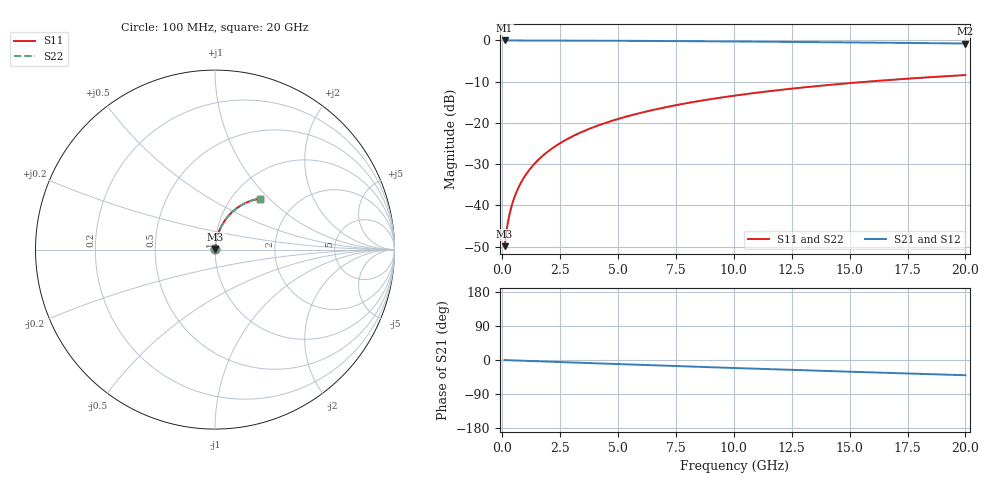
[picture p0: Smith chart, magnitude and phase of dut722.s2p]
! Touchstone file exported from HFSS 2026.1.0
!  File:  C:/ffzhzh/LocalFiles/Ansys_Project_Files/temp_train_BSMRDL_722_1783168390_51560.aedt
!  Generated:  08:34:28 PM Jul  4, 2026
!  Design:  BSMRDL
!  Project:  temp_train_BSMRDL_722_1783168390_51560
! Variables:
!  h_bsmrdl = 4.17um
!  h_ox = 20um
!  h_rdl = 5um
!  h_sub = 80um
!  h_tmrdl = 5um
!  h_tsv = 80um
!  h_via = 3um
!  l_bsmrdl = 565.13um
!  l_sub = 965.13um
!  l_tmrdl = 200um
!  m_sub = 200um
!  pitch = 59.85um
!  r_tsv = 6um
!  s_tmrdl = 10um
!  w_bsmrdl = 26.51um
!  w_sub = 500um
!  w_tmrdl = 12um
!  x_tsv_center1 = 206um
!  x_tsv_center2 = 797.64um
!  x_tsv_center3 = 1009.64um
!  x_tsv_center4 = 1601.28um
!  x_tsv_center5 = 1813.28um
!  x_tsv_center6 = 2404.92um
# GHz S MA R 50.000000
! Terminal data exported
! Port[1] = BSM_RDL1_1_T1
! Port[2] = BSM_RDL1_1_T2
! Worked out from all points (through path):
!   200 points, 100 MHz to 20 GHz, reference 50 ohm
!   highest |S21| = -0.02 dB at 100 MHz (marker M1); lowest = -0.8 dB at 20 GHz (marker M2)
!   group delay of S21, straight-line fit = 5.59 ps
!   lowest |S11| = -49.9 dB at 100 MHz (marker M3), VSWR 1.01, Z = 50.2 + j0.247 ohm
!   |S11| at or under -10 dB: start of sweep to 15.79 GHz
!   |S22| runs from -49.9 to -8.4 dB; largest |S21 - S12| = 2.2e-15
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0.1  0.003193 50.5  0.998 -0.2  0.998 -0.2  0.003193 50.5
! Gamma 0 0 0 0
! Port Impedance 50 0 50 0
0.2  0.005319 65.7  0.9978 -0.5  0.9978 -0.5  0.005319 65.7
0.3  0.007536 71.7  0.9977 -0.7  0.9977 -0.7  0.007535 71.7
0.4  0.009752 74.9  0.9976 -0.9  0.9976 -0.9  0.009751 74.9
0.5  0.01197 77.0  0.9975 -1.1  0.9975 -1.1  0.01197 77.0
0.7  0.01642 79.4  0.9974 -1.5  0.9974 -1.5  0.01642 79.4
0.8  0.01865 80.2  0.9973 -1.8  0.9973 -1.8  0.01865 80.2
1  0.02313 81.1  0.9971 -2.2  0.9971 -2.2  0.02313 81.1
1.2  0.02762 81.7  0.9969 -2.6  0.9969 -2.6  0.02762 81.7
1.4  0.03212 81.9  0.9967 -3.1  0.9967 -3.1  0.03211 81.9
1.7  0.03886 82.0  0.9964 -3.7  0.9964 -3.7  0.03886 82.0
2  0.04559 81.8  0.996 -4.4  0.996 -4.4  0.04559 81.8
2.7  0.06123 81.0  0.9948 -5.9  0.9948 -5.9  0.06123 81.0
3.5  0.07893 79.7  0.9932 -7.6  0.9932 -7.6  0.07893 79.7
4.2  0.09423 78.4  0.9914 -9.1  0.9914 -9.1  0.09423 78.4
5  0.1115 76.9  0.9892 -10.8  0.9892 -10.8  0.1115 76.9
6.8  0.1494 73.4  0.9833 -14.5  0.9833 -14.5  0.1494 73.4
8.3  0.1799 70.4  0.9776 -17.6  0.9776 -17.6  0.1799 70.4
10.1  0.2152 66.9  0.9698 -21.3  0.9698 -21.3  0.2152 66.9
13.4  0.2758 60.6  0.9536 -27.8  0.9536 -27.8  0.2758 60.6
16.7  0.3308 54.5  0.9355 -34.1  0.9355 -34.1  0.3308 54.5
20  0.3796 48.5  0.9165 -40.2  0.9165 -40.2  0.3796 48.6
